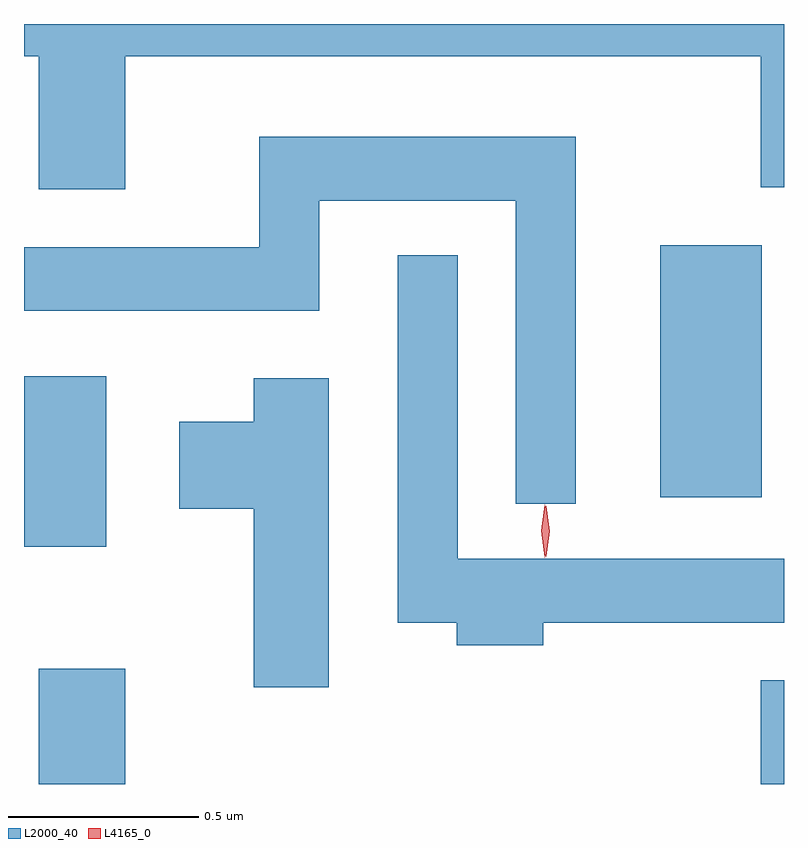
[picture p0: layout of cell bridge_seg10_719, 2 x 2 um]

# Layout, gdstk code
import gdstk
lib = gdstk.Library(unit=1e-6, precision=1e-09)
def R(c, l, rs):  # rectangles x0, y0, x1, y1
    for r in rs: c.add(gdstk.rectangle(r[:2], r[2:], *l))
def P(c, l, *ps):  # polygons
    for p in ps: c.add(gdstk.Polygon(p, *l))
L2000_40 = (2000, 40)
L4165_0 = (4165, 0)

bridge_seg10_719 = lib.new_cell('bridge_seg10_719')
R(bridge_seg10_719, L2000_40, [(1024.291,2103.121,1024.519,2103.424), (1026.191,2103.121,1026.252,2103.394), (1024.252,2103.746,1024.469,2104.194), (1025.926,2103.876,1026.194,2104.539)])
P(bridge_seg10_719, L2000_40, [(1024.519,2105.036),(1026.191,2105.036),(1026.191,2104.691),(1026.252,2104.691),(1026.252,2105.121),(1024.252,2105.121),(1024.252,2105.036),(1024.291,2105.036),(1024.291,2104.686),(1024.519,2104.686)],
  [(1025.704,2104.824),(1024.871,2104.824),(1024.871,2104.534),(1024.252,2104.534),(1024.252,2104.366),(1025.029,2104.366),(1025.029,2104.656),(1025.546,2104.656),(1025.546,2103.858),(1025.704,2103.858)],
  [(1025.619,2103.546),(1026.252,2103.546),(1026.252,2103.714),(1025.394,2103.714),(1025.394,2104.513),(1025.236,2104.513),(1025.236,2103.546),(1025.391,2103.546),(1025.391,2103.486),(1025.619,2103.486)],
  [(1025.054,2104.189),(1024.856,2104.189),(1024.856,2104.074),(1024.661,2104.074),(1024.661,2103.846),(1024.856,2103.846),(1024.856,2103.376),(1025.054,2103.376)])
P(bridge_seg10_719, L4165_0, [(1025.625,2103.719),(1025.625,2103.72),(1025.615,2103.786),(1025.625,2103.852),(1025.625,2103.853),(1025.626,2103.852),(1025.635,2103.786),(1025.626,2103.72)],
  [(1025.623,2103.717),(1025.622,2103.718),(1025.613,2103.787),(1025.622,2103.856),(1025.623,2103.856),(1025.623,2103.856),(1025.633,2103.787),(1025.623,2103.718)])

lib.write_gds('bridge_seg10_719.gds')
